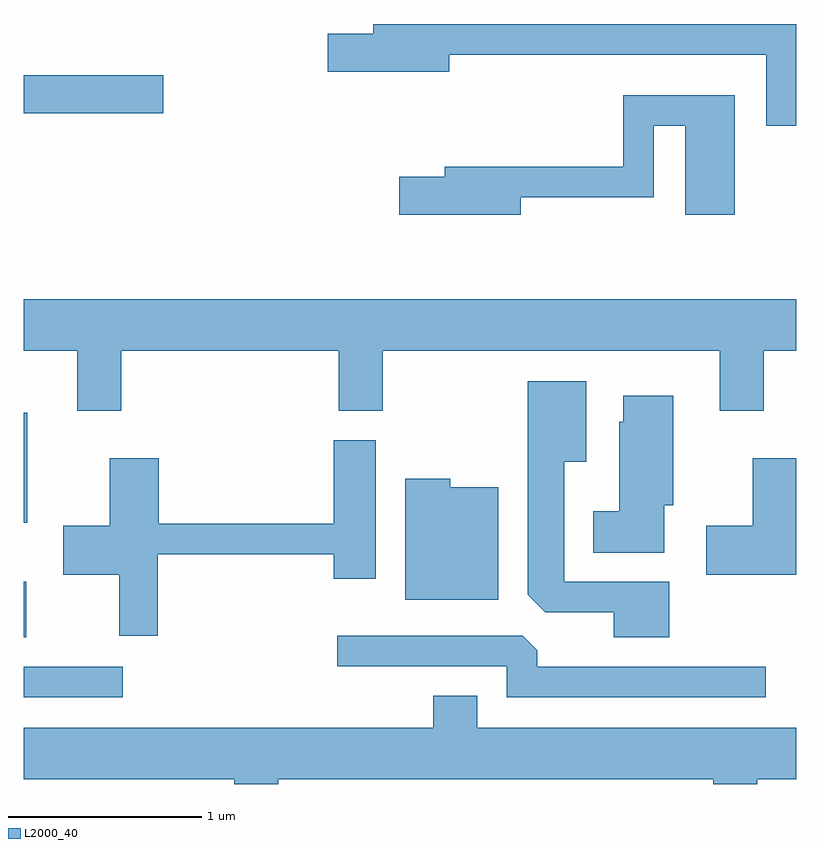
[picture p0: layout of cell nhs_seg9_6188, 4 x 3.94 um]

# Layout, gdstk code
import gdstk
lib = gdstk.Library(unit=1e-6, precision=1e-09)
def R(c, l, rs):  # rectangles x0, y0, x1, y1
    for r in rs: c.add(gdstk.rectangle(r[:2], r[2:], *l))
def P(c, l, *ps):  # polygons
    for p in ps: c.add(gdstk.Polygon(p, *l))
L2000_40 = (2000, 40)

nhs_seg9_6188 = lib.new_cell('nhs_seg9_6188')
R(nhs_seg9_6188, L2000_40, [(367.611,2018.881,368.123,2019.039), (367.611,2019.191,367.624,2019.479), (367.611,2019.786,367.629,2020.354), (367.611,2021.906,368.334,2022.104)])
P(nhs_seg9_6188, L2000_40, [(371.611,2022.369),(369.421,2022.369),(369.421,2022.319),(369.186,2022.319),(369.186,2022.121),(369.814,2022.121),(369.814,2022.211),(371.456,2022.211),(371.456,2021.841),(371.611,2021.841)],
  [(370.184,2021.471),(370.874,2021.471),(370.874,2021.841),(371.036,2021.841),(371.036,2021.381),(371.294,2021.381),(371.294,2021.999),(370.716,2021.999),(370.716,2021.629),(369.791,2021.629),(369.791,2021.579),(369.556,2021.579),(369.556,2021.381),(370.184,2021.381)],
  [(368.114,2020.676),(369.241,2020.676),(369.241,2020.366),(369.469,2020.366),(369.469,2020.676),(371.216,2020.676),(371.216,2020.366),(371.444,2020.366),(371.444,2020.676),(371.611,2020.676),(371.611,2020.944),(367.611,2020.944),(367.611,2020.676),(367.886,2020.676),(367.886,2020.366),(368.114,2020.366)],
  [(370.954,2019.479),(370.409,2019.479),(370.409,2020.101),(370.524,2020.101),(370.524,2020.519),(370.221,2020.519),(370.221,2019.412),(370.312,2019.321),(370.666,2019.321),(370.666,2019.191),(370.954,2019.191)],
  [(370.929,2019.876),(370.974,2019.876),(370.974,2020.444),(370.716,2020.444),(370.716,2020.309),(370.696,2020.309),(370.696,2019.844),(370.561,2019.844),(370.561,2019.631),(370.929,2019.631)],
  [(368.304,2019.621),(369.216,2019.621),(369.216,2019.496),(369.434,2019.496),(369.434,2020.214),(369.216,2020.214),(369.216,2019.779),(368.309,2019.779),(368.309,2020.119),(368.056,2020.119),(368.056,2019.769),(367.816,2019.769),(367.816,2019.516),(368.106,2019.516),(368.106,2019.201),(368.304,2019.201)],
  [(371.611,2020.119),(371.386,2020.119),(371.386,2019.769),(371.146,2019.769),(371.146,2019.516),(371.611,2019.516)],
  [(370.069,2019.969),(369.819,2019.969),(369.819,2020.014),(369.586,2020.014),(369.586,2019.386),(370.069,2019.386)],
  [(371.453,2019.039),(370.269,2019.039),(370.269,2019.124),(370.194,2019.199),(369.233,2019.199),(369.233,2019.041),(370.111,2019.041),(370.111,2018.881),(371.453,2018.881)],
  [(368.929,2018.456),(371.181,2018.456),(371.181,2018.432),(371.409,2018.432),(371.409,2018.456),(371.611,2018.456),(371.611,2018.724),(369.959,2018.724),(369.959,2018.889),(369.731,2018.889),(369.731,2018.724),(367.611,2018.724),(367.611,2018.456),(368.701,2018.456),(368.701,2018.432),(368.929,2018.432)])

lib.write_gds('nhs_seg9_6188.gds')
